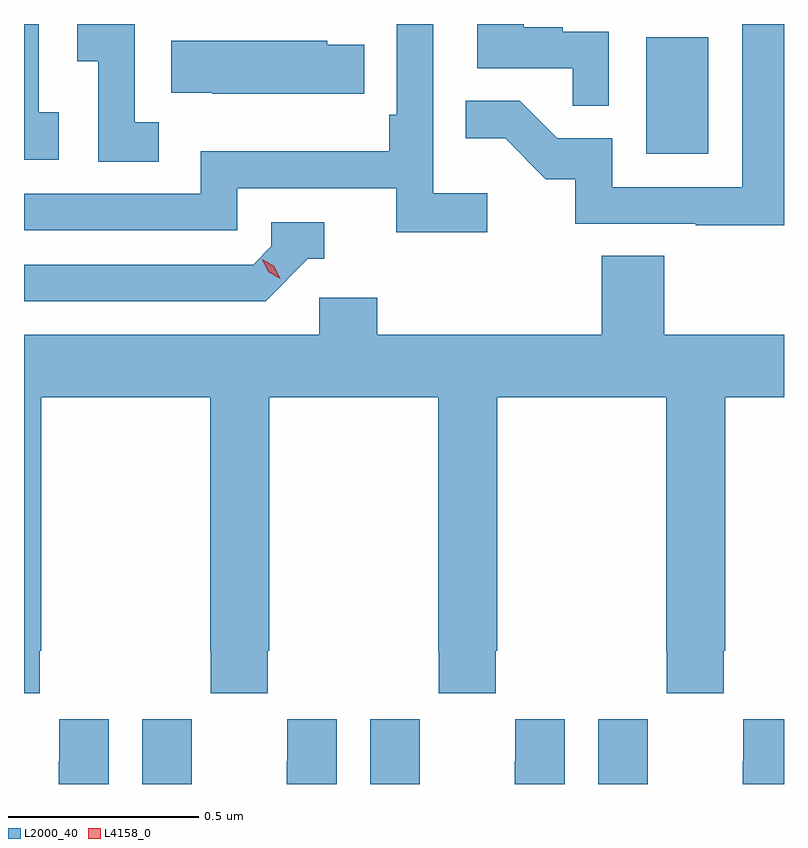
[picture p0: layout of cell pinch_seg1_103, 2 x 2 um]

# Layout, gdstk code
import gdstk
lib = gdstk.Library(unit=1e-6, precision=1e-09)
def R(c, l, rs):  # rectangles x0, y0, x1, y1
    for r in rs: c.add(gdstk.rectangle(r[:2], r[2:], *l))
def P(c, l, *ps):  # polygons
    for p in ps: c.add(gdstk.Polygon(p, *l))
L2000_40 = (2000, 40)
L4158_0 = (4158, 0)

pinch_seg1_103 = lib.new_cell('pinch_seg1_103')
R(pinch_seg1_103, L2000_40, [(1049.588,544.38,1049.752,544.687)])
P(pinch_seg1_103, L2000_40, [(1048.042,544.49),(1047.99,544.49),(1047.99,544.722),(1047.951,544.722),(1047.951,544.365),(1048.042,544.365)],
  [(1049.17,544.276),(1049.028,544.276),(1049.028,544.722),(1048.932,544.722),(1048.932,544.483),(1048.912,544.483),(1048.912,544.387),(1048.416,544.387),(1048.416,544.275),(1047.951,544.275),(1047.951,544.179),(1048.512,544.179),(1048.512,544.29),(1048.931,544.29),(1048.931,544.174),(1049.17,544.174)],
  [(1048.305,544.463),(1048.242,544.463),(1048.242,544.722),(1048.091,544.722),(1048.091,544.624),(1048.146,544.624),(1048.146,544.36),(1048.305,544.36)],
  [(1049.951,544.722),(1049.841,544.722),(1049.841,544.293),(1049.499,544.293),(1049.499,544.422),(1049.354,544.422),(1049.256,544.52),(1049.113,544.52),(1049.113,544.421),(1049.217,544.421),(1049.324,544.314),(1049.401,544.314),(1049.401,544.197),(1049.719,544.197),(1049.719,544.192),(1049.951,544.192)],
  [(1049.49,544.701),(1049.369,544.701),(1049.369,544.714),(1049.266,544.714),(1049.266,544.722),(1049.144,544.722),(1049.144,544.605),(1049.395,544.605),(1049.395,544.507),(1049.49,544.507)],
  [(1048.847,544.668),(1048.749,544.668),(1048.749,544.678),(1048.339,544.678),(1048.339,544.541),(1048.447,544.541),(1048.447,544.538),(1048.847,544.538)],
  [(1048.698,544.104),(1048.741,544.104),(1048.741,544.2),(1048.602,544.2),(1048.602,544.137),(1048.554,544.089),(1047.951,544.089),(1047.951,543.993),(1048.587,543.993)],
  [(1047.993,543.073),(1047.996,543.073),(1047.996,543.74),(1048.441,543.74),(1048.441,543.073),(1048.443,543.073),(1048.443,542.961),(1048.593,542.961),(1048.593,543.073),(1048.596,543.073),(1048.596,543.74),(1049.041,543.74),(1049.041,543.073),(1049.043,543.073),(1049.043,542.961),(1049.193,542.961),(1049.193,543.073),(1049.196,543.073),(1049.196,543.74),(1049.641,543.74),(1049.641,543.073),(1049.643,543.073),(1049.643,542.961),(1049.793,542.961),(1049.793,543.073),(1049.796,543.073),(1049.796,543.74),(1049.951,543.74),(1049.951,543.904),(1049.636,543.904),(1049.636,544.112),(1049.471,544.112),(1049.471,543.904),(1048.88,543.904),(1048.88,544.002),(1048.728,544.002),(1048.728,543.904),(1047.951,543.904),(1047.951,542.961),(1047.993,542.961)],
  [(1049.374,542.893),(1049.244,542.893),(1049.244,542.78),(1049.243,542.78),(1049.243,542.722),(1049.374,542.722)],
  [(1049.951,542.893),(1049.844,542.893),(1049.844,542.78),(1049.843,542.78),(1049.843,542.722),(1049.951,542.722)],
  [(1049.593,542.78),(1049.592,542.78),(1049.592,542.893),(1049.462,542.893),(1049.462,542.722),(1049.593,542.722)],
  [(1048.993,542.78),(1048.992,542.78),(1048.992,542.893),(1048.862,542.893),(1048.862,542.722),(1048.993,542.722)],
  [(1048.774,542.893),(1048.644,542.893),(1048.644,542.78),(1048.643,542.78),(1048.643,542.722),(1048.774,542.722)],
  [(1048.393,542.78),(1048.392,542.78),(1048.392,542.893),(1048.262,542.893),(1048.262,542.722),(1048.393,542.722)],
  [(1048.174,542.893),(1048.044,542.893),(1048.044,542.78),(1048.043,542.78),(1048.043,542.722),(1048.174,542.722)])
P(pinch_seg1_103, L4158_0, [(1048.625,544.051),(1048.594,544.07),(1048.578,544.103),(1048.578,544.103),(1048.578,544.103),(1048.609,544.084),(1048.625,544.051),(1048.625,544.051)])

lib.write_gds('pinch_seg1_103.gds')
